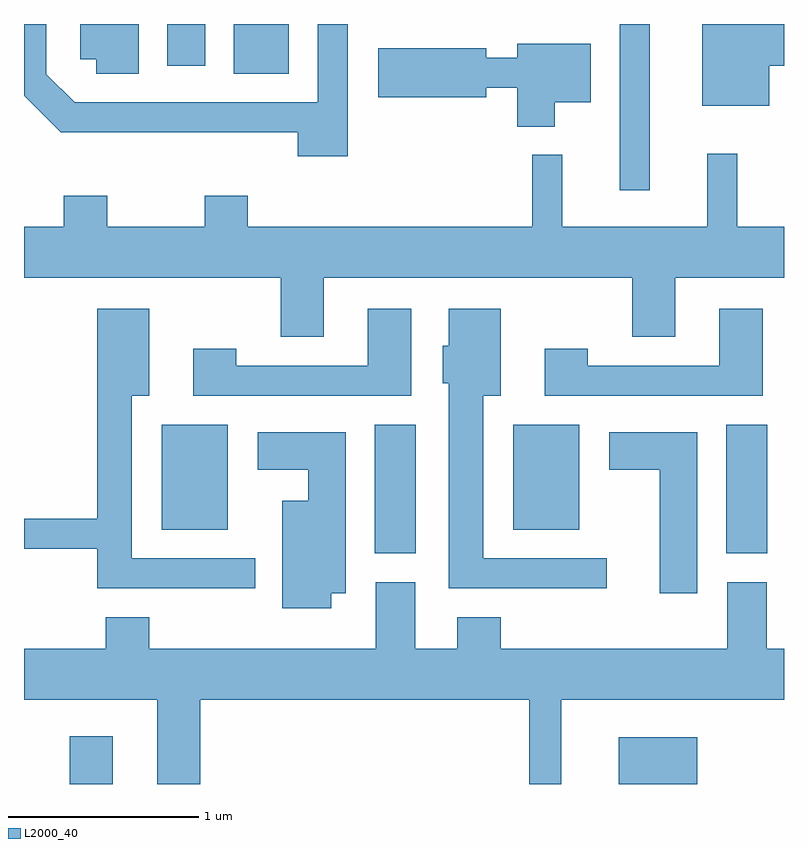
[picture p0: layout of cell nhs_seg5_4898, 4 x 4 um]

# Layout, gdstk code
import gdstk
lib = gdstk.Library(unit=1e-6, precision=1e-09)
def R(c, l, rs):  # rectangles x0, y0, x1, y1
    for r in rs: c.add(gdstk.rectangle(r[:2], r[2:], *l))
def P(c, l, *ps):  # polygons
    for p in ps: c.add(gdstk.Polygon(p, *l))
L2000_40 = (2000, 40)

nhs_seg5_4898 = lib.new_cell('nhs_seg5_4898')
R(nhs_seg5_4898, L2000_40, [(329.851,1514.072,330.079,1514.324), (332.741,1514.072,333.154,1514.319), (331.456,1515.286,331.674,1515.964), (333.306,1515.286,333.524,1515.964), (330.336,1515.411,330.684,1515.964), (332.186,1515.411,332.534,1515.964), (332.746,1517.198,332.904,1518.072), (330.716,1517.811,331.004,1518.072), (330.366,1517.851,330.564,1518.072)])
P(nhs_seg5_4898, L2000_40, [(330.214,1518.072),(329.906,1518.072),(329.906,1517.886),(329.991,1517.886),(329.991,1517.811),(330.214,1517.811)],
  [(333.534,1517.851),(333.611,1517.851),(333.611,1518.072),(333.181,1518.072),(333.181,1517.641),(333.534,1517.641)],
  [(331.314,1518.072),(331.156,1518.072),(331.156,1517.659),(329.877,1517.659),(329.729,1517.807),(329.729,1518.072),(329.611,1518.072),(329.611,1517.694),(329.804,1517.501),(331.051,1517.501),(331.051,1517.376),(331.314,1517.376)],
  [(332.404,1517.661),(332.594,1517.661),(332.594,1517.969),(332.206,1517.969),(332.206,1517.894),(332.044,1517.894),(332.044,1517.944),(331.476,1517.944),(331.476,1517.686),(332.044,1517.686),(332.044,1517.736),(332.206,1517.736),(332.206,1517.531),(332.404,1517.531)],
  [(331.189,1516.736),(332.811,1516.736),(332.811,1516.426),(333.039,1516.426),(333.039,1516.736),(333.611,1516.736),(333.611,1517.004),(333.364,1517.004),(333.364,1517.388),(333.206,1517.388),(333.206,1517.004),(332.444,1517.004),(332.444,1517.383),(332.286,1517.383),(332.286,1517.004),(330.789,1517.004),(330.789,1517.169),(330.561,1517.169),(330.561,1517.004),(330.049,1517.004),(330.049,1517.169),(329.821,1517.169),(329.821,1517.004),(329.611,1517.004),(329.611,1516.736),(330.961,1516.736),(330.961,1516.426),(331.189,1516.426)],
  [(332.678,1515.259),(332.029,1515.259),(332.029,1516.116),(332.119,1516.116),(332.119,1516.574),(331.846,1516.574),(331.846,1516.379),(331.816,1516.379),(331.816,1516.181),(331.846,1516.181),(331.846,1515.101),(332.678,1515.101)],
  [(331.649,1516.574),(331.421,1516.574),(331.421,1516.274),(330.729,1516.274),(330.729,1516.364),(330.501,1516.364),(330.501,1516.116),(331.649,1516.116)],
  [(333.499,1516.574),(333.271,1516.574),(333.271,1516.274),(332.579,1516.274),(332.579,1516.364),(332.351,1516.364),(332.351,1516.116),(333.499,1516.116)],
  [(330.828,1515.259),(330.179,1515.259),(330.179,1516.116),(330.269,1516.116),(330.269,1516.574),(329.996,1516.574),(329.996,1515.469),(329.611,1515.469),(329.611,1515.311),(329.996,1515.311),(329.996,1515.101),(330.828,1515.101)],
  [(333.154,1515.924),(332.691,1515.924),(332.691,1515.726),(332.956,1515.726),(332.956,1515.076),(333.154,1515.076)],
  [(331.229,1515.076),(331.304,1515.076),(331.304,1515.924),(330.841,1515.924),(330.841,1515.726),(331.106,1515.726),(331.106,1515.564),(330.971,1515.564),(330.971,1514.996),(331.229,1514.996)],
  [(330.539,1514.516),(332.271,1514.516),(332.271,1514.072),(332.439,1514.072),(332.439,1514.516),(333.611,1514.516),(333.611,1514.784),(333.519,1514.784),(333.519,1515.134),(333.311,1515.134),(333.311,1514.784),(332.119,1514.784),(332.119,1514.949),(331.891,1514.949),(331.891,1514.784),(331.669,1514.784),(331.669,1515.134),(331.461,1515.134),(331.461,1514.784),(330.269,1514.784),(330.269,1514.949),(330.041,1514.949),(330.041,1514.784),(329.611,1514.784),(329.611,1514.516),(330.311,1514.516),(330.311,1514.072),(330.539,1514.072)])

lib.write_gds('nhs_seg5_4898.gds')
